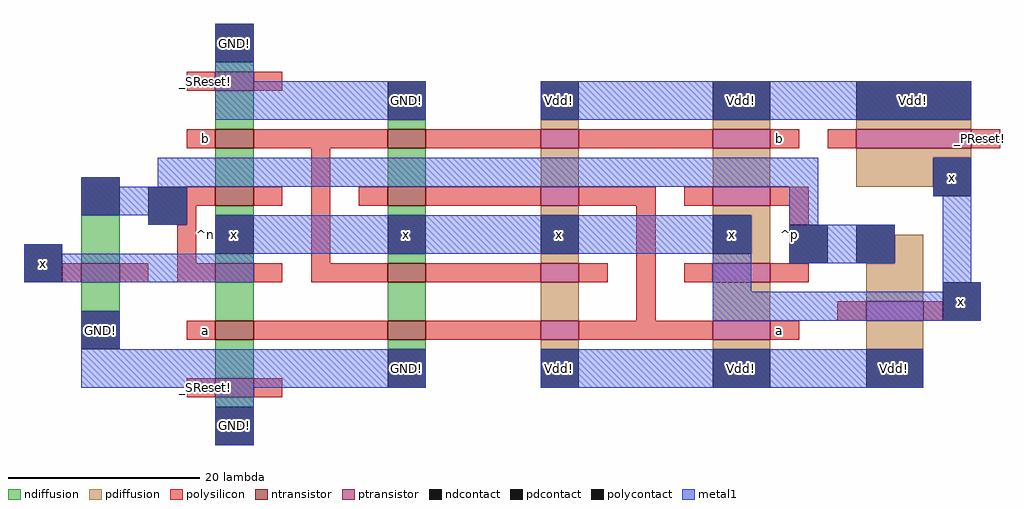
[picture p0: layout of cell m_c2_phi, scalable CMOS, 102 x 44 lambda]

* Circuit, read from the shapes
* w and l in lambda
.subckt m_c2_phi GND! Vdd! _PReset! _SReset! a b x
M1 n1 x GND! VSUBS nfet w=4 l=2
M2 n2 _SReset! GND! VSUBS nfet w=4 l=2
M3 n3 a n2 VSUBS nfet w=4 l=2
M4 x n1 n3 VSUBS nfet w=4 l=2
M5 n4 n1 x VSUBS nfet w=4 l=2
M6 n5 b n4 VSUBS nfet w=4 l=2
M7 GND! _SReset! n5 VSUBS nfet w=4 l=2
M8 n6 a GND! VSUBS nfet w=4 l=2
M9 x b n6 VSUBS nfet w=4 l=2
M10 n7 a x VSUBS nfet w=4 l=2
M11 GND! b n7 VSUBS nfet w=4 l=2
M12 n8 a Vdd! NWELL pfet w=4 l=2
M13 x b n8 NWELL pfet w=4 l=2
M14 n9 a x NWELL pfet w=4 l=2
M15 Vdd! b n9 NWELL pfet w=4 l=2
M16 n10 a Vdd! NWELL pfet w=6 l=2
M17 x n1 n10 NWELL pfet w=6 l=2
M18 n11 n1 x NWELL pfet w=6 l=2
M19 Vdd! b n11 NWELL pfet w=6 l=2
M20 Vdd! _PReset! x NWELL pfet w=12 l=2
M21 n1 x Vdd! NWELL pfet w=6 l=2
.ends

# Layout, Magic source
magic
tech scmos
<< ndiffusion >>
rect 11 59 15 60
rect 11 53 15 57
rect 29 53 33 54
rect 11 47 15 51
rect -3 39 1 44
rect 11 44 15 45
rect 11 39 15 40
rect 29 47 33 51
rect 29 44 33 45
rect 29 39 33 40
rect -3 34 1 37
rect 11 33 15 37
rect 29 33 33 37
rect 11 27 15 31
rect 29 30 33 31
rect 11 24 15 25
<< pdiffusion >>
rect 45 53 49 54
rect 63 53 69 54
rect 78 53 90 54
rect 45 47 49 51
rect 63 47 69 51
rect 78 50 90 51
rect 78 47 86 50
rect 45 44 49 45
rect 45 39 49 40
rect 45 33 49 37
rect 63 44 69 45
rect 67 40 69 44
rect 63 39 69 40
rect 82 39 85 42
rect 63 33 69 37
rect 79 35 85 39
rect 45 30 49 31
rect 63 30 69 31
rect 79 30 85 33
<< ntransistor >>
rect 11 57 15 59
rect 11 51 15 53
rect 29 51 33 53
rect 11 45 15 47
rect 29 45 33 47
rect -3 37 1 39
rect 11 37 15 39
rect 29 37 33 39
rect 11 31 15 33
rect 29 31 33 33
rect 11 25 15 27
<< ptransistor >>
rect 45 51 49 53
rect 63 51 69 53
rect 78 51 90 53
rect 45 45 49 47
rect 63 45 69 47
rect 45 37 49 39
rect 63 37 69 39
rect 79 33 85 35
rect 45 31 49 33
rect 63 31 69 33
<< polysilicon >>
rect 8 57 11 59
rect 15 57 18 59
rect 8 51 11 53
rect 15 51 29 53
rect 33 51 45 53
rect 49 51 63 53
rect 69 51 72 53
rect 75 51 78 53
rect 90 51 93 53
rect 8 45 11 47
rect 15 45 18 47
rect 8 43 9 45
rect 7 39 9 43
rect 21 39 23 51
rect 26 45 29 47
rect 33 45 45 47
rect 49 45 57 47
rect 60 45 63 47
rect 69 45 73 47
rect -5 37 -3 39
rect 1 37 4 39
rect 7 37 11 39
rect 15 37 18 39
rect 21 37 29 39
rect 33 37 45 39
rect 49 37 52 39
rect 55 33 57 45
rect 71 43 73 45
rect 60 37 63 39
rect 69 37 73 39
rect 76 33 79 35
rect 85 33 87 35
rect 8 31 11 33
rect 15 31 29 33
rect 33 31 45 33
rect 49 31 63 33
rect 69 31 72 33
rect 8 25 11 27
rect 15 25 18 27
<< ndcontact >>
rect 11 60 15 64
rect 29 54 33 58
rect -3 44 1 48
rect 11 40 15 44
rect 29 40 33 44
rect -3 30 1 34
rect 29 26 33 30
rect 11 20 15 24
<< pdcontact >>
rect 45 54 49 58
rect 63 54 69 58
rect 78 54 90 58
rect 86 46 90 50
rect 45 40 49 44
rect 63 40 67 44
rect 78 39 82 43
rect 45 26 49 30
rect 63 26 69 30
rect 79 26 85 30
<< polycontact >>
rect -9 37 -5 41
rect 4 43 8 47
rect 71 39 75 43
rect 87 33 91 37
<< metal1 >>
rect 11 58 15 64
rect 11 54 33 58
rect 45 54 90 58
rect -3 47 1 48
rect 5 47 74 50
rect -3 44 8 47
rect 4 43 8 44
rect -9 40 -5 41
rect 11 40 67 44
rect -9 37 15 40
rect 63 36 67 40
rect 71 43 74 47
rect 86 46 90 50
rect 71 39 82 43
rect 87 37 90 46
rect 87 36 91 37
rect -3 30 1 34
rect 63 33 91 36
rect -3 26 33 30
rect 45 26 85 30
rect 11 20 15 26
<< labels >>
rlabel polysilicon 70 52 70 52 1 b
rlabel polysilicon 70 32 70 32 1 a
rlabel polysilicon 10 52 10 52 3 b
rlabel polysilicon 10 32 10 32 1 a
rlabel polysilicon 10 58 10 58 1 _SReset!
rlabel polysilicon 10 26 10 26 1 _SReset!
rlabel polysilicon 91 52 91 52 1 _PReset!
rlabel space 48 25 94 59 3 ^p
rlabel space -10 19 30 65 7 ^n
rlabel pdcontact 65 42 65 42 1 x
rlabel pdcontact 66 28 66 28 1 Vdd!
rlabel pdcontact 66 56 66 56 1 Vdd!
rlabel ndcontact 31 42 31 42 1 x
rlabel pdcontact 47 42 47 42 1 x
rlabel pdcontact 47 28 47 28 1 Vdd!
rlabel pdcontact 47 56 47 56 1 Vdd!
rlabel ndcontact 13 62 13 62 5 GND!
rlabel ndcontact 13 22 13 22 1 GND!
rlabel pdcontact 84 56 84 56 5 Vdd!
rlabel pdcontact 88 48 88 48 7 x
rlabel ndcontact 31 56 31 56 5 GND!
rlabel ndcontact 31 28 31 28 1 GND!
rlabel ndcontact 13 42 13 42 1 x
rlabel ndcontact -1 32 -1 32 1 GND!
rlabel polycontact -7 39 -7 39 3 x
rlabel pdcontact 82 28 82 28 3 Vdd!
rlabel polycontact 89 35 89 35 7 x
<< end >>
